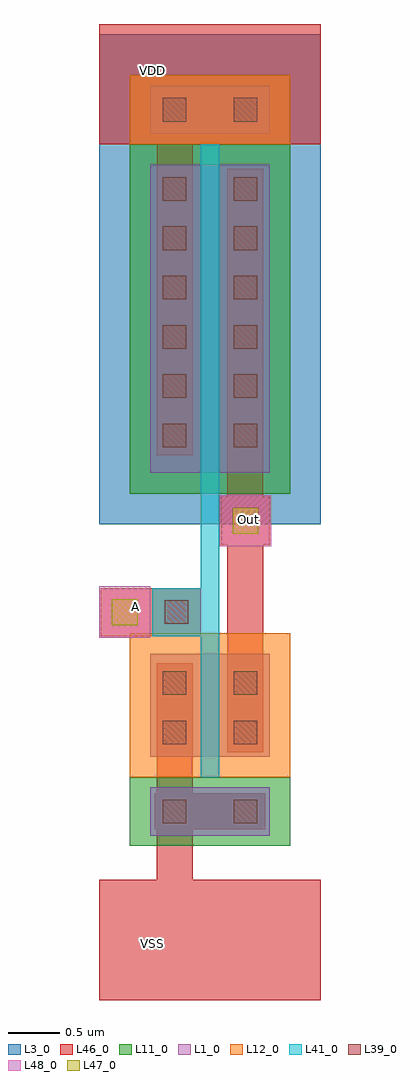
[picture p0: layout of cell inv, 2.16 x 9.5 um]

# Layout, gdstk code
import gdstk
lib = gdstk.Library(unit=1e-6, precision=1e-09)
def R(c, l, rs):  # rectangles x0, y0, x1, y1
    for r in rs: c.add(gdstk.rectangle(r[:2], r[2:], *l))
def A(c, l, x, y, w, h, nx, ny, dx, dy):  # array of equal rectangles
    R(c, l, [(x+i*dx, y+j*dy, x+i*dx+w, y+j*dy+h) for i in range(nx) for j in range(ny)])
L1_0 = (1, 0)
L3_0 = (3, 0)
L11_0 = (11, 0)
L12_0 = (12, 0)
L39_0 = (39, 0)
L41_0 = (41, 0)
L46_0 = (46, 0)
L47_0 = (47, 0)
L48_0 = (48, 0)

inv = lib.new_cell('inv')
R(inv, L1_0, [(-2.87,4.425,-1.71,4.895), (-2.87,5.195,-1.71,6.195), (-2.87,7.955,-1.71,10.955), (-2.87,11.255,-1.71,11.725)])
R(inv, L3_0, [(-3.37,7.455,-1.21,12.225)])
R(inv, L11_0, [(-3.07,4.325,-1.51,4.995), (-3.07,7.755,-1.51,11.155)])
R(inv, L12_0, [(-3.07,4.995,-1.51,6.395), (-3.07,11.155,-1.51,11.825)])
A(inv, L39_0, -2.75, 8.205, 0.23, 0.23, 1, 6, 0, 0.48)
A(inv, L39_0, -2.06, 8.205, 0.23, 0.23, 1, 6, 0, 0.48)
R(inv, L39_0, [(-2.75,4.545,-2.52,4.775), (-2.06,4.545,-1.83,4.775), (-2.75,5.315,-2.52,5.545), (-2.06,5.315,-1.83,5.545), (-2.75,5.795,-2.52,6.025), (-2.06,5.795,-1.83,6.025), (-2.73,6.485,-2.5,6.715), (-2.75,11.375,-2.52,11.605), (-2.06,11.375,-1.83,11.605)])
R(inv, L41_0, [(-2.38,4.995,-2.2,11.155), (-2.85,6.365,-2.2,6.835)])
R(inv, L46_0, [(-3.37,2.825,-1.21,3.995), (-2.81,3.795,-2.46,6.105), (-2.83,4.485,-1.75,4.835), (-2.12,5.235,-1.77,10.915), (-3.355,6.365,-2.38,6.835), (-2.18,7.255,-1.71,7.725), (-2.81,8.125,-2.46,11.375), (-3.37,11.155,-1.21,12.325)])
R(inv, L47_0, [(-3.245,6.475,-2.995,6.725), (-2.07,7.365,-1.82,7.615)])
R(inv, L48_0, [(-3.37,6.35,-2.87,6.85), (-2.195,7.24,-1.695,7.74)])
inv.add(gdstk.Label('VSS', (-2.845,3.375), layer=101, texttype=0))
inv.add(gdstk.Label('VDD', (-2.85,11.875), layer=101, texttype=0))
inv.add(gdstk.Label('A', (-3.02,6.655), layer=102, texttype=0))
inv.add(gdstk.Label('Out', (-1.915,7.5), layer=102, texttype=0))

lib.write_gds('inv.gds')
